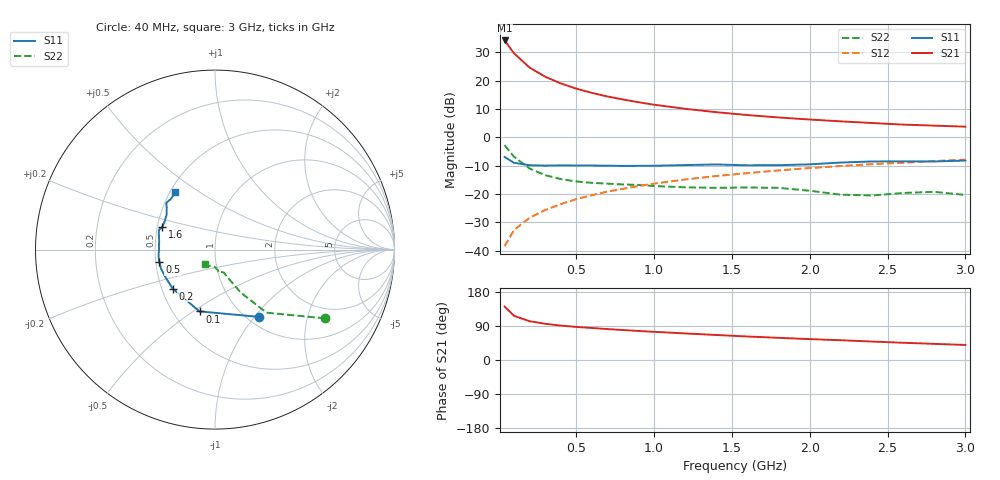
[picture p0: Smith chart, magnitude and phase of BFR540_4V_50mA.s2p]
! Filename:  BFR540F.S2P  Version:  3.0
! Philips part #: BFR540  Date: Feb 1992
! Bias condition: Vce=4V, Ic=50mA
#  MHz  S  MA  R  50
! Freq  S11  S21  S12  S22  !GUM [dB]
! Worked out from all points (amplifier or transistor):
!   21 points, 40 MHz to 3 GHz, reference 50 ohm
!   highest |S21| = 34.1 dB at 40 MHz (marker M1)
!   |S21| within 3 dB of that: start of sweep to 79.9 MHz
!   unconditionally stable (mu >= 1): 519.6 MHz to 2.825 GHz
!   at 300 MHz: K = 0.95, MSG = 23.5 dB, |S12| = -25.7 dB
!   at 1 GHz: K = 1.03, MAG = 12.9 dB, |S12| = -16.4 dB
!   at 3 GHz: K = 0.99, MSG = 5.8 dB, |S12| = -7.9 dB
!   S11 on the Smith chart (normalised r, x): 40 MHz: 1.13, -1.06; 100 MHz: 0.67, -0.53; 200 MHz: 0.57, -0.28; 500 MHz: 0.52, -0.08; 1.6 GHz: 0.53, +0.15; 3 GHz: 0.53, +0.40
40  0.448 -56.8  50.87 141.1  0.012 72.2  0.723 -32.0
100  0.355 -104.0  30.26 116.7  0.023 67.4  0.454 -50.7
200  0.321 -137.4  16.96 102.4  0.038 69.5  0.281 -59.0
300  0.316 -152.4  11.69 95.6  0.052 71.9  0.215 -62.1
400  0.319 -161.1  8.911 90.9  0.066 72.8  0.183 -64.4
500  0.318 -167.1  7.194 87.3  0.081 73.6  0.166 -65.9
600  0.317 -171.6  6.06 84.5  0.095 73.4  0.157 -66.9
700  0.315 -175.7  5.236 81.6  0.11 73.3  0.152 -67.6
800  0.312 -179.8  4.632 79.1  0.123 72.9  0.147 -67.6
900  0.313 176.0  4.14 76.6  0.138 72.5  0.144 -68.0
1000  0.314 172.0  3.747 74.4  0.152 71.9  0.138 -68.9
1200  0.323 165.4  3.171 70.1  0.18 70.5  0.131 -73.0
1400  0.331 160.8  2.764 66.0  0.207 68.9  0.128 -77.8
1600  0.32 156.7  2.462 62.0  0.233 67.4  0.13 -78.2
1800  0.321 151.1  2.231 58.5  0.26 65.7  0.128 -80.5
2000  0.333 144.0  2.052 55.1  0.286 64.0  0.114 -82.7
2200  0.358 138.7  1.905 52.1  0.311 62.4  0.097 -91.4
2400  0.374 136.6  1.782 48.7  0.335 60.5  0.094 -106.5
2600  0.376 135.2  1.67 45.5  0.356 58.6  0.104 -116.6
2800  0.374 131.2  1.601 42.6  0.38 56.9  0.109 -119.3
3000  0.388 124.7  1.535 39.7  0.402 55.1  0.096 -124.4
